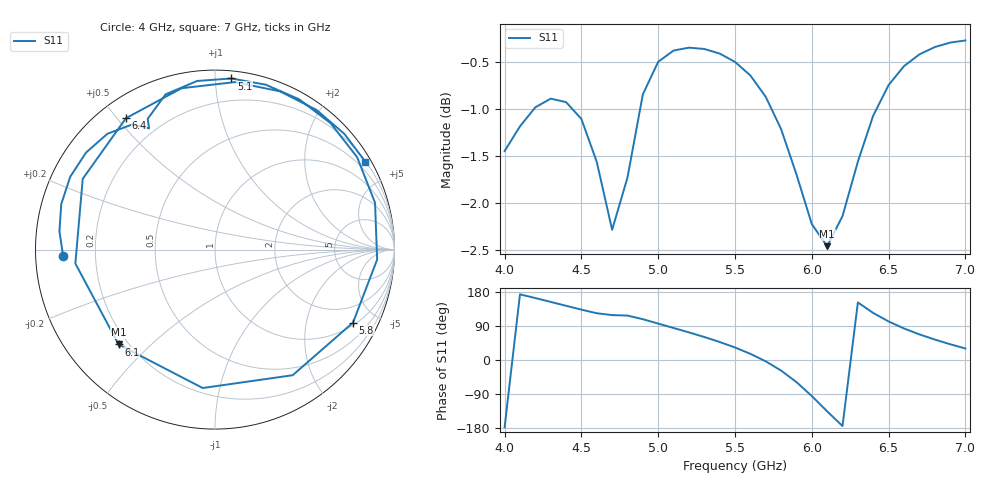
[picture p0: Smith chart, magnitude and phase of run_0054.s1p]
! Touchstone file exported from HFSS 2024.2.0
!  File:  C:/Users/wsak9/Desktop/Sim Fast/Widenad Patch/WP_AI_V1_sweep.aedt
!  Generated:  05:10:33 PM Oct 13, 2026
!  Design:  A1_model
!  Project:  WP_AI_V1_sweep
!  Setup:  Setup1
!  Solution:  Sweep
! Variables:
!  Air_gap = 2.76mm
!  Curve_Amp1 = 2.07
!  Curve_len1 = 1
!  Curve_pos = 13.08mm
!  Extra = 6.37mm
!  H_sub = 0.79mm
!  L_Patch = 22.16mm
!  L_Patch1 = 22.57mm
!  Sx = 4.97mm
!  Sy = 1.79mm
!  WS = 0.26mm
!  W_Patch = 22.76mm
!  W_Patch1 = 16.2mm
!Data is not renormalized
# GHz S MA
! Terminal data exported
! Port[1] = 1
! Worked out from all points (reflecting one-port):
!   31 points, 4 GHz to 7 GHz, reference per port
!   lowest |S11| = -2.5 dB at 6.1 GHz (marker M1), VSWR 7.11
!   phase of S11 starts at -178 deg and turns -512 deg over the sweep
!   S11 on the Smith chart (normalised r, x): 4 GHz: 0.08, -0.02; 5.1 GHz: 0.05, +1.10; 5.8 GHz: 1.11, -3.72; 6.1 GHz: 0.16, -0.40; 6.4 GHz: 0.08, +0.53; 7 GHz: 0.22, +3.67
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4  0.8468 -177.5
4.2  0.8934 163.5
4.4  0.8992 143.0
4.5  0.8808 132.9
4.6  0.8356 123.4
4.7  0.7688 118.5
4.8  0.8197 117.2
4.9  0.9077 107.7
5  0.9448 96.1
5.1  0.9579 84.5
5.2  0.9613 72.9
5.3  0.9597 60.7
5.4  0.9543 47.6
5.5  0.9446 33.0
5.6  0.929 16.3
5.7  0.905 -3.5
5.8  0.8699 -27.9
5.9  0.8229 -58.3
6  0.7742 -95.1
6.1  0.7535 -135.5
6.2  0.7818 -174.3
6.3  0.8358 151.9
6.4  0.8844 124.1
6.5  0.9181 101.7
6.6  0.9397 83.3
6.7  0.9533 67.7
6.8  0.9619 54.0
7  0.9698 30.4
